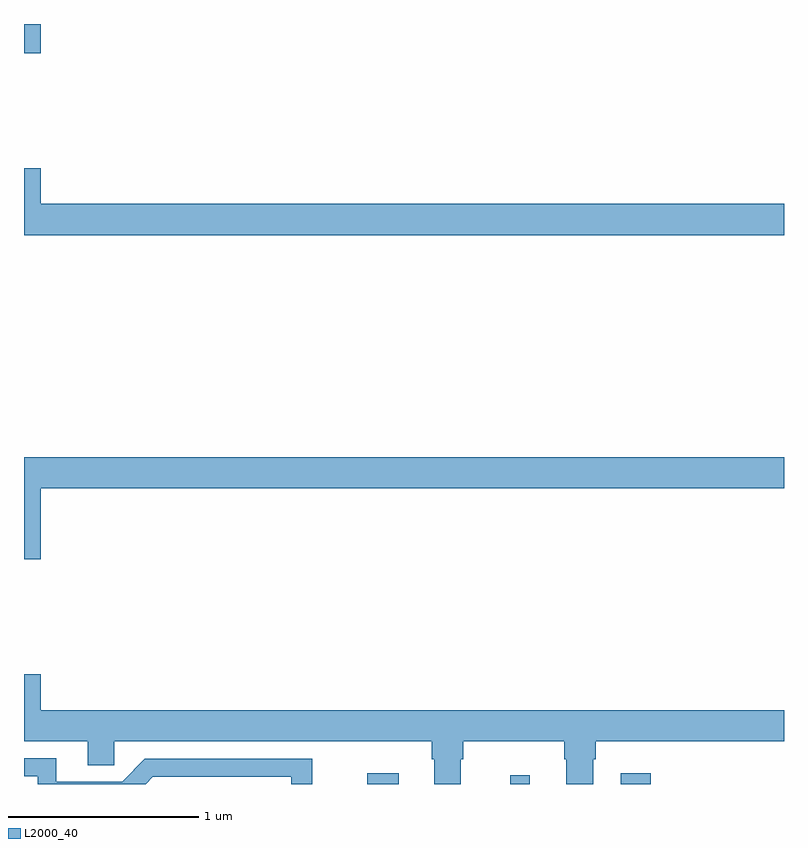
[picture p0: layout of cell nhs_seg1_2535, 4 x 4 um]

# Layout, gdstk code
import gdstk
lib = gdstk.Library(unit=1e-6, precision=1e-09)
def R(c, l, rs):  # rectangles x0, y0, x1, y1
    for r in rs: c.add(gdstk.rectangle(r[:2], r[2:], *l))
def P(c, l, *ps):  # polygons
    for p in ps: c.add(gdstk.Polygon(p, *l))
L2000_40 = (2000, 40)

nhs_seg1_2535 = lib.new_cell('nhs_seg1_2535')
R(nhs_seg1_2535, L2000_40, [(250.807,526.199,250.972,526.255), (251.56,526.199,251.663,526.246), (252.14,526.199,252.299,526.255), (249,530.046,249.088,530.199)])
P(nhs_seg1_2535, L2000_40, [(253,529.252),(249.088,529.252),(249.088,529.441),(249,529.441),(249,529.088),(253,529.088)],
  [(249.088,527.756),(253,527.756),(253,527.92),(249,527.92),(249,527.382),(249.088,527.382)],
  [(251.299,526.328),(251.312,526.328),(251.312,526.424),(251.843,526.424),(251.843,526.328),(251.855,526.328),(251.855,526.199),(251.995,526.199),(251.995,526.328),(252.008,526.328),(252.008,526.424),(253,526.424),(253,526.588),(249.088,526.588),(249.088,526.777),(249,526.777),(249,526.424),(249.335,526.424),(249.335,526.297),(249.474,526.297),(249.474,526.424),(251.147,526.424),(251.147,526.328),(251.159,526.328),(251.159,526.199),(251.299,526.199)],
  [(249.678,526.236),(250.407,526.236),(250.407,526.199),(250.516,526.199),(250.516,526.332),(249.636,526.332),(249.516,526.212),(249.169,526.212),(249.169,526.335),(249,526.335),(249,526.239),(249.072,526.239),(249.072,526.199),(249.641,526.199)])

lib.write_gds('nhs_seg1_2535.gds')
